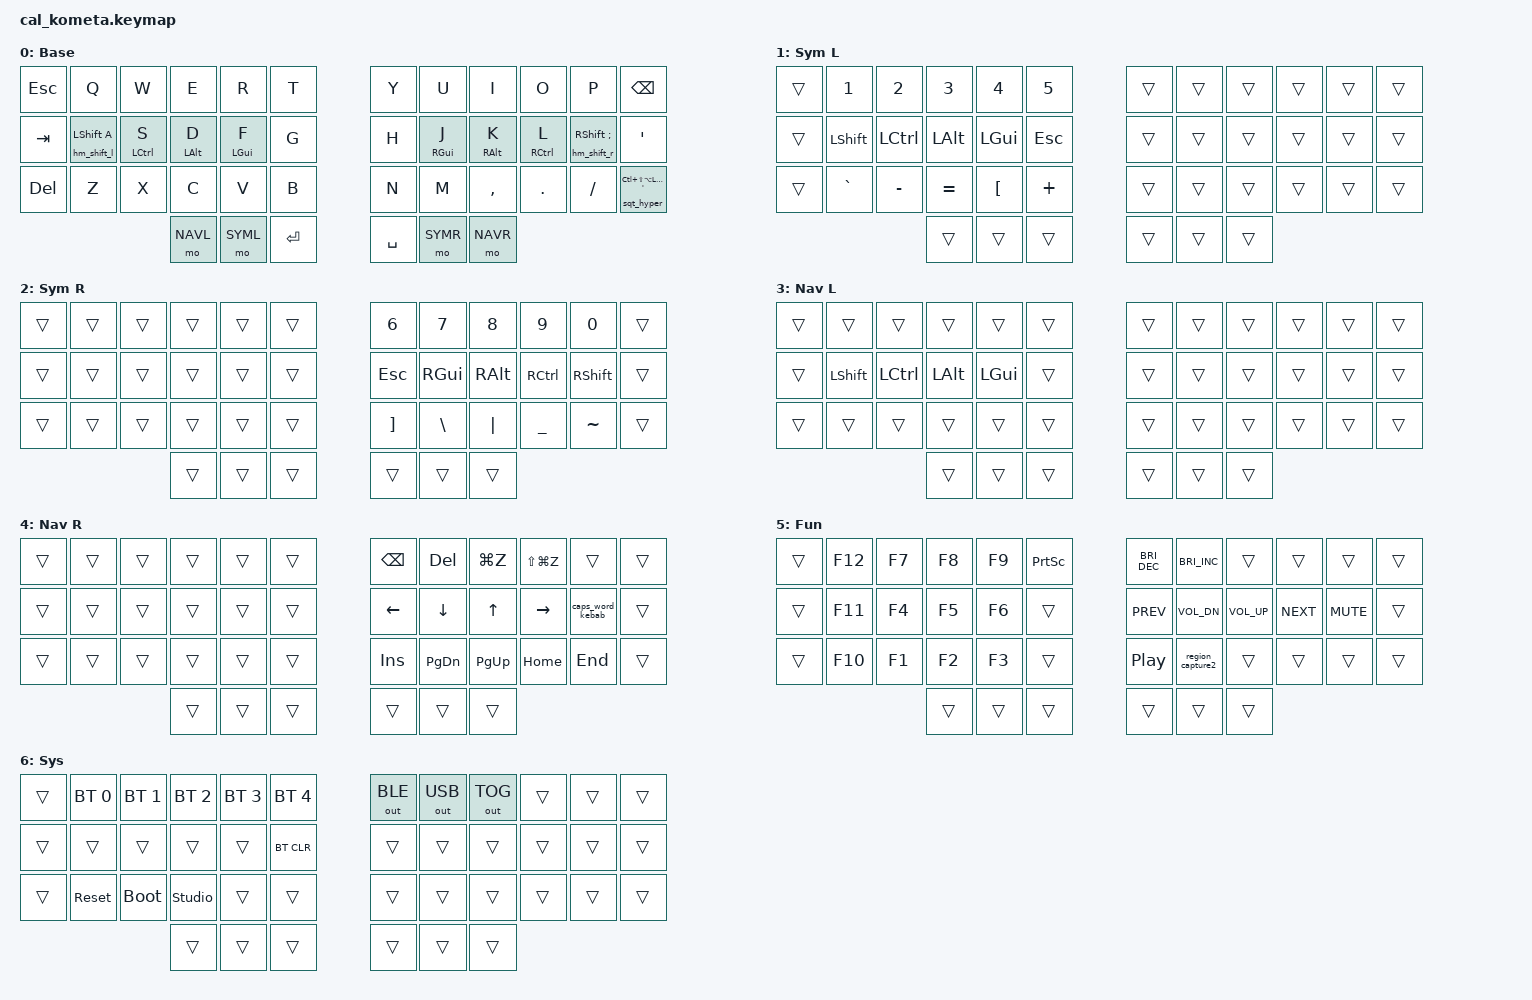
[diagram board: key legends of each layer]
/*
 * Variant C — "callum-core" (kometa, 42-key grid)
 *
 * Identical scheme to cal_totem.keymap; the kometa's outer column keeps
 * ESC / TAB / BSPC / SQT / DEL as bonus corner keys (this variant relies on
 * combos + the NAVR half for ESC/BSPC on the totem).
 */

#include <behaviors.dtsi>
#include <dt-bindings/zmk/keys.h>
#include <dt-bindings/zmk/bt.h>
#include <dt-bindings/zmk/outputs.h>

#include "zmk-helpers/helper.h"
#include "zmk-helpers/key-labels/42.h"

#define KEYS_L LT0 LT1 LT2 LT3 LT4 LT5 LM0 LM1 LM2 LM3 LM4 LM5 LB0 LB1 LB2 LB3 LB4 LB5
#define KEYS_R RT0 RT1 RT2 RT3 RT4 RT5 RM0 RM1 RM2 RM3 RM4 RM5 RB0 RB1 RB2 RB3 RB4 RB5
#define KEYS_T LH2 LH1 LH0 RH0 RH1 RH2

#include "../includes/behaviours_homerow_mods.dtsi"
#include "../includes/behaviours_variants.dtsi"

#define BASE 0
#define SYML 1
#define SYMR 2
#define NAVL 3
#define NAVR 4
#define FUN  5
#define SYS  6

#include "../includes/combos_variants.dtsi"

/ {
    conditional_layers {
        compatible = "zmk,conditional-layers";
        tri_fun {
            if-layers = <SYML SYMR>;
            then-layer = <FUN>;
        };
        tri_sys {
            if-layers = <NAVL NAVR>;
            then-layer = <SYS>;
        };
    };

    keymap {
        compatible = "zmk,keymap";

        base_layer {
            display-name = "Base";
            label = "BASE";

            bindings = <
                &kp ESC   &kp Q                &kp W &kp E &kp R &kp T              &kp Y &kp U      &kp I      &kp O     &kp P        &kp BSPC
                &kp TAB   &hm_shift_l LSHFT A &hm_l LCTRL S &hm_l LALT D &hm_l LGUI F &kp G    &kp H &hm_r RGUI J &hm_r RALT K &hm_r RCTRL L &hm_shift_r RSHFT SEMICOLON &kp SQT
                &kp DEL   &kp Z &kp X &kp C &kp V &kp B                         &kp N &kp M  &kp COMMA &kp DOT &kp SLASH &sqt_hyper LC(LS(LA(LGUI))) SQT
                                &mo NAVL   &mo SYML   &kp RET     &kp SPACE    &mo SYMR   &mo NAVR
            >;
        };

        syml_layer {
            display-name = "Sym L";
            label = "SYML";

            // numbers 1-5 + real mods + ESC; right half transparent
            bindings = <
                &trans  &kp N1    &kp N2    &kp N3    &kp N4    &kp N5          &trans    &trans    &trans    &trans    &trans    &trans
                &trans  &kp LSHFT  &kp LCTRL  &kp LALT  &kp LGUI  &kp ESC       &trans    &trans    &trans    &trans    &trans    &trans
                &trans  &kp GRAVE &kp MINUS &kp EQUAL &kp LBKT &kp PLUS  &trans    &trans    &trans    &trans    &trans    &trans
                                &trans  &trans  &trans                          &trans    &trans    &trans
            >;
        };

        symr_layer {
            display-name = "Sym R";
            label = "SYMR";

            // numbers 6-0 + real mods + ESC; left half transparent
            bindings = <
                &trans  &trans    &trans    &trans    &trans    &trans          &kp N6    &kp N7     &kp N8     &kp N9     &kp N0     &trans
                &trans  &trans    &trans    &trans    &trans    &trans          &kp ESC   &kp RGUI   &kp RALT   &kp RCTRL   &kp RSHFT   &trans
                &trans  &trans    &trans    &trans    &trans    &trans          &kp RBKT  &kp BSLH   &kp PIPE   &kp UNDER   &kp TILDE   &trans
                                &trans  &trans  &trans                          &trans    &trans    &trans
            >;
        };

        navl_layer {
            display-name = "Nav L";
            label = "NAVL";

            // real mods on the home row only
            bindings = <
                &trans  &trans    &trans    &trans    &trans    &trans          &trans    &trans    &trans    &trans    &trans    &trans
                &trans  &kp LSHFT  &kp LCTRL  &kp LALT  &kp LGUI  &trans       &trans    &trans    &trans    &trans    &trans    &trans
                &trans  &trans    &trans    &trans    &trans    &trans          &trans    &trans    &trans    &trans    &trans    &trans
                                &trans  &trans  &trans                          &trans    &trans    &trans
            >;
        };

        navr_layer {
            display-name = "Nav R";
            label = "NAVR";

            // BSPC/DEL/undo/redo + arrows + caps-word
            bindings = <
                &trans  &trans    &trans    &trans    &trans    &trans          &kp BSPC    &kp DEL     &kp LG(Z)   &kp LS(LG(Z))   &trans    &trans
                &trans  &trans    &trans    &trans    &trans    &trans          &kp LEFT    &kp DOWN    &kp UP      &kp RIGHT       &caps_word_kebab &trans
                &trans  &trans    &trans    &trans    &trans    &trans          &kp INS     &kp PG_DN   &kp PG_UP   &kp HOME        &kp END     &trans
                                &trans  &trans  &trans                          &trans    &trans    &trans
            >;
        };

        fun_layer {
            display-name = "Fun";
            label = "FUN";

            // both SYM thumbs held: F-keys left, media right
            bindings = <
                &trans  &kp F12   &kp F7   &kp F8   &kp F9   &kp PSCRN            &kp C_BRI_DEC   &kp C_BRI_INC  &trans   &trans    &trans    &trans
                &trans  &kp F11   &kp F4   &kp F5   &kp F6   &trans               &kp C_PREV      &kp C_VOL_DN   &kp C_VOL_UP  &kp C_NEXT   &kp C_MUTE   &trans
                &trans  &kp F10  &kp F1   &kp F2   &kp F3   &trans       &kp C_PP        &region_capture2  &trans   &trans    &trans    &trans
                                &trans  &trans  &trans                          &trans    &trans      &trans
            >;
        };

        sys_layer {
            display-name = "Sys";
            label = "SYS";

            // both NAV thumbs held: BT / outputs / reset / studio
            bindings = <
                &trans  &bt BT_SEL 0  &bt BT_SEL 1  &bt BT_SEL 2  &bt BT_SEL 3  &bt BT_SEL 4          &out OUT_BLE    &out OUT_USB    &out OUT_TOG    &trans  &trans  &trans
                &trans  &trans        &trans        &trans        &trans        &bt BT_CLR           &trans          &trans          &trans          &trans  &trans  &trans
                &trans  &sys_reset    &bootloader   &studio_unlock &trans       &trans          &trans          &trans          &trans          &trans  &trans  &trans
                                &trans  &trans  &trans                          &trans          &trans          &trans
            >;
        };
    };
};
